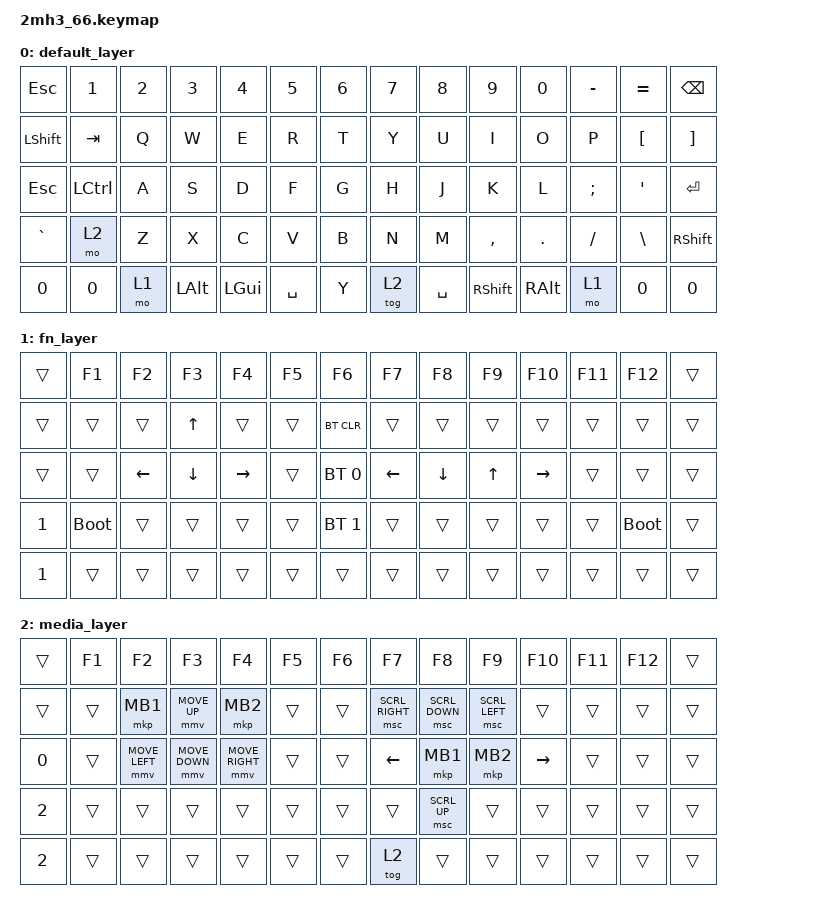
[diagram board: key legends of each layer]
#include <behaviors.dtsi>
#include <dt-bindings/zmk/keys.h>
#include <dt-bindings/zmk/bt.h>
#include <dt-bindings/zmk/outputs.h>

#define ZMK_POINTING_DEFAULT_MOVE_VAL 1500  // default: 600
#define ZMK_POINTING_DEFAULT_SCRL_VAL 20    // default: 10

#include <dt-bindings/zmk/pointing.h>

/* マウスキー移動・スクロールのタイマー挙動を明示的にオーバーライド（すり抜け・割り込み防止） */
&mmv {
    time-to-max-speed-ms = <300>;
    acceleration-exponent = <1>;
};

&msc {
    time-to-max-speed-ms = <300>;
    acceleration-exponent = <1>;
};

/ {
    keymap {
        compatible = "zmk,keymap";

        // Layer 0: Default Layer
        default_layer {
            bindings = <
                &kp ESC    &kp N1     &kp N2        &kp N3        &kp N4        &kp N5        &kp N6         &kp N7        &kp N8        &kp N9        &kp N0        &kp MINUS  &kp EQUAL  &kp BSPC
                &kp LSHFT  &kp TAB    &kp Q         &kp W         &kp E         &kp R         &kp T          &kp Y         &kp U         &kp I         &kp O         &kp P       &kp LBKT   &kp RBKT
                &kp ESC    &kp LCTRL  &kp A         &kp S         &kp D         &kp F         &kp G          &kp H         &kp J         &kp K         &kp L         &kp SEMI   &kp SQT    &kp RET
                &kp GRAVE  &mo 2      &kp Z         &kp X         &kp C         &kp V         &kp B          &kp N         &kp M         &kp COMMA     &kp DOT      &kp FSLH   &kp BSLH   &kp RSHFT
                &kp N0     &kp N0     &mo 1         &kp LALT      &kp LGUI      &kp SPACE     &kp Y          &tog 2        &kp SPACE     &kp RSHFT     &kp RALT     &mo 1      &kp N0     &kp N0
            >;
        };

        // Layer 1: FN Layer (QMK Layer 1)
        fn_layer {
            bindings = <
                &trans     &kp F1     &kp F2     &kp F3     &kp F4     &kp F5     &kp F6          &kp F7     &kp F8     &kp F9     &kp F10    &kp F11    &kp F12      &trans
                &trans     &trans     &trans     &kp UP     &trans     &trans     &bt BT_CLR      &trans     &trans     &trans     &trans     &trans     &trans       &trans
                &trans     &trans     &kp LEFT   &kp DOWN   &kp RIGHT  &trans     &bt BT_SEL 0    &kp LEFT   &kp DOWN   &kp UP     &kp RIGHT  &trans     &trans       &trans
                &kp N1     &bootloader &trans    &trans     &trans     &trans     &bt BT_SEL 1    &trans     &trans     &trans     &trans     &trans     &bootloader  &trans
                &kp N1     &trans     &trans     &trans     &trans     &trans     &trans          &trans     &trans     &trans     &trans     &trans     &trans       &trans
            >;
        };

        // Layer 2: Mouse & BLE Layer (QMK Layer 2)
        media_layer {
            bindings = <
                &trans  &kp F1    &kp F2         &kp F3          &kp F4          &kp F5          &kp F6                      &kp F7          &kp F8          &kp F9          &kp F10         &kp F11         &kp F12         &trans
                &trans  &trans    &mkp MB1       &mmv MOVE_UP    &mkp MB2        &trans          &trans                      &msc SCRL_RIGHT &msc SCRL_DOWN  &msc SCRL_LEFT  &trans          &trans          &trans          &trans
                &kp N0  &trans    &mmv MOVE_LEFT &mmv MOVE_DOWN  &mmv MOVE_RIGHT &trans          &trans                      &kp LEFT        &mkp MB1        &mkp MB2        &kp RIGHT       &trans          &trans          &trans
                &kp N2  &trans    &trans         &trans          &trans          &trans          &trans                      &trans          &msc SCRL_UP    &trans          &trans          &trans          &trans          &trans
                &kp N2  &trans    &trans         &trans          &trans          &trans          &trans                      &tog 2          &trans          &trans          &trans          &trans          &trans          &trans
            >;
        };
    };
};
